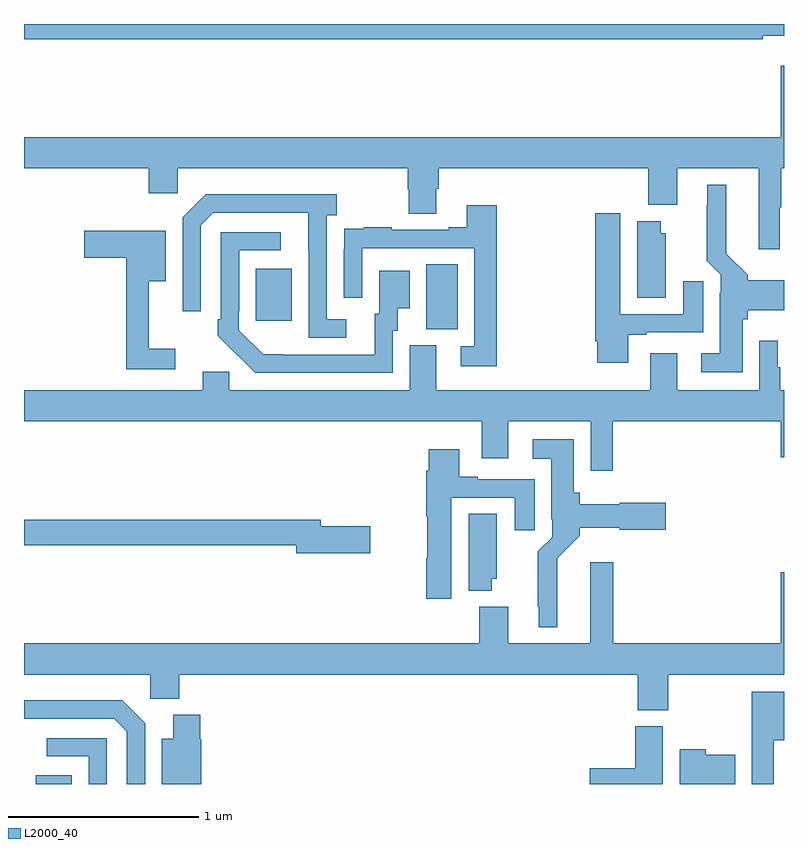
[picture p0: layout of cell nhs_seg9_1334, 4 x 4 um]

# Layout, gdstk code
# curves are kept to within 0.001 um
import gdstk
lib = gdstk.Library(unit=1e-6, precision=1e-09)
def R(c, l, rs):  # rectangles x0, y0, x1, y1
    for r in rs: c.add(gdstk.rectangle(r[:2], r[2:], *l))
def P(c, l, *ps):  # polygons
    for p in ps: c.add(gdstk.Polygon(p, *l))
L2000_40 = (2000, 40)

nhs_seg9_1334 = lib.new_cell('nhs_seg9_1334')
R(nhs_seg9_1334, L2000_40, [(185.063,1206.5,185.251,1206.547), (187.118,1208.893,187.282,1209.236), (186.221,1208.937,186.409,1209.211)])
P(nhs_seg9_1334, L2000_40, [(188.888,1210.439),(189,1210.439),(189,1210.5),(185,1210.5),(185,1210.42),(188.888,1210.42)],
  [(188.977,1209.536),(188.985,1209.536),(188.985,1209.74),(189,1209.74),(189,1210.279),(188.984,1210.279),(188.984,1209.904),(185,1209.904),(185,1209.74),(185.657,1209.74),(185.657,1209.609),(185.808,1209.609),(185.808,1209.74),(187.019,1209.74),(187.019,1209.627),(187.024,1209.627),(187.024,1209.502),(187.171,1209.502),(187.171,1209.634),(187.184,1209.634),(187.184,1209.74),(188.285,1209.74),(188.285,1209.548),(188.437,1209.548),(188.437,1209.74),(188.867,1209.74),(188.867,1209.315),(188.977,1209.315)],
  [(188.782,1208.946),(188.808,1208.946),(188.808,1208.993),(189,1208.993),(189,1209.151),(188.808,1209.151),(188.808,1209.179),(188.695,1209.292),(188.695,1209.655),(188.597,1209.655),(188.597,1209.545),(188.593,1209.545),(188.593,1209.254),(188.667,1209.18),(188.667,1209.086),(188.663,1209.086),(188.663,1208.767),(188.565,1208.767),(188.565,1208.666),(188.782,1208.666)],
  [(186.697,1208.946),(186.594,1208.946),(186.594,1209.494),(186.646,1209.494),(186.646,1209.604),(185.956,1209.604),(185.835,1209.483),(185.835,1208.988),(185.931,1208.988),(185.931,1209.441),(185.997,1209.507),(186.497,1209.507),(186.498,1208.85),(186.697,1208.85)],
  [(187.487,1209.547),(187.331,1209.547),(187.331,1209.43),(187.235,1209.43),(187.235,1209.417),(186.935,1209.417),(186.935,1209.43),(186.787,1209.43),(186.787,1209.423),(186.685,1209.423),(186.685,1209.314),(186.684,1209.314),(186.684,1209.06),(186.78,1209.06),(186.78,1209.321),(187.371,1209.321),(187.371,1208.805),(187.299,1208.805),(187.299,1208.7),(187.487,1208.7)],
  [(188.179,1208.865),(188.275,1208.865),(188.275,1208.877),(188.575,1208.877),(188.575,1209.145),(188.471,1209.145),(188.471,1208.973),(188.137,1208.973),(188.137,1209.505),(188.006,1209.505),(188.006,1208.83),(188.018,1208.83),(188.018,1208.718),(188.179,1208.718)],
  [(188.377,1209.399),(188.35,1209.399),(188.35,1209.463),(188.228,1209.463),(188.228,1209.058),(188.377,1209.058)],
  [(185.797,1208.791),(185.657,1208.791),(185.657,1209.146),(185.746,1209.146),(185.746,1209.411),(185.316,1209.411),(185.316,1209.269),(185.539,1209.269),(185.539,1208.682),(185.797,1208.682)],
  [(186.942,1208.886),(186.967,1208.886),(186.967,1209.005),(187.03,1209.005),(187.03,1209.202),(186.869,1209.202),(186.869,1208.976),(186.845,1208.976),(186.845,1208.76),(186.258,1208.761),(186.129,1208.889),(186.129,1208.989),(186.132,1208.989),(186.132,1209.309),(186.352,1209.309),(186.352,1209.405),(186.036,1209.405),(186.036,1208.947),(186.021,1208.947),(186.021,1208.859),(186.218,1208.664),(186.942,1208.664)],
  [(188.099,1208.408),(188.984,1208.408),(188.984,1208.22),(189,1208.22),(189,1208.572),(188.98,1208.572),(188.98,1208.694),(188.968,1208.694),(188.968,1208.833),(188.871,1208.833),(188.871,1208.572),(188.437,1208.572),(188.437,1208.767),(188.297,1208.767),(188.297,1208.572),(187.171,1208.572),(187.171,1208.808),(187.031,1208.808),(187.031,1208.572),(186.081,1208.572),(186.081,1208.67),(185.942,1208.67),(185.942,1208.572),(185,1208.572),(185,1208.408),(187.409,1208.408),(187.409,1208.214),(187.549,1208.214),(187.549,1208.408),(187.983,1208.408),(187.983,1208.148),(188.099,1208.148)],
  [(187.807,1207.688),(187.925,1207.806),(187.925,1207.85),(188.136,1207.85),(188.136,1207.838),(188.377,1207.838),(188.377,1207.98),(188.136,1207.98),(188.136,1207.972),(187.925,1207.972),(187.925,1208.034),(187.894,1208.034),(187.894,1208.314),(187.677,1208.314),(187.677,1208.213),(187.775,1208.213),(187.775,1207.894),(187.779,1207.894),(187.779,1207.8),(187.705,1207.726),(187.705,1207.435),(187.709,1207.435),(187.709,1207.325),(187.807,1207.325)],
  [(187.249,1208.007),(187.583,1208.007),(187.583,1207.836),(187.687,1207.836),(187.687,1208.103),(187.387,1208.103),(187.387,1208.116),(187.291,1208.116),(187.291,1208.263),(187.13,1208.263),(187.13,1208.15),(187.118,1208.15),(187.118,1207.91),(187.123,1207.91),(187.123,1207.688),(187.118,1207.688),(187.118,1207.476),(187.249,1207.476)],
  [(187.462,1207.581),(187.489,1207.581),(187.489,1207.922),(187.34,1207.922),(187.34,1207.517),(187.462,1207.517)],
  [(186.823,1207.856),(186.562,1207.856),(186.562,1207.892),(185,1207.892),(185,1207.756),(186.434,1207.756),(186.434,1207.714),(186.823,1207.714)],
  [(188.391,1207.076),(189,1207.076),(189,1207.615),(188.984,1207.615),(188.984,1207.24),(188.102,1207.24),(188.102,1207.666),(187.979,1207.666),(187.979,1207.24),(187.549,1207.24),(187.549,1207.432),(187.397,1207.432),(187.397,1207.24),(185,1207.24),(185,1207.076),(185.664,1207.076),(185.664,1206.95),(185.816,1206.95),(185.816,1207.076),(188.231,1207.076),(188.231,1206.889),(188.391,1206.889)],
  [(188.947,1206.731),(189,1206.731),(189,1206.985),(188.831,1206.985),(188.831,1206.5),(188.947,1206.5)],
  [(185.637,1206.819),(185.516,1206.94),(185,1206.94),(185,1206.843),(185.475,1206.843),(185.541,1206.777),(185.541,1206.5),(185.637,1206.5)],
  [(185.933,1206.735),(185.927,1206.735),(185.927,1206.865),(185.786,1206.865),(185.786,1206.739),(185.726,1206.739),(185.726,1206.5),(185.933,1206.5)],
  [(188.362,1206.804),(188.216,1206.804),(188.216,1206.584),(187.977,1206.584),(187.977,1206.5),(188.362,1206.5)],
  [(185.436,1206.741),(185.121,1206.741),(185.121,1206.645),(185.34,1206.645),(185.34,1206.5),(185.436,1206.5)],
  [(188.743,1206.655),(188.589,1206.655),(188.589,1206.682),(188.45,1206.682),(188.45,1206.5),(188.743,1206.5)])

lib.write_gds('nhs_seg9_1334.gds')
